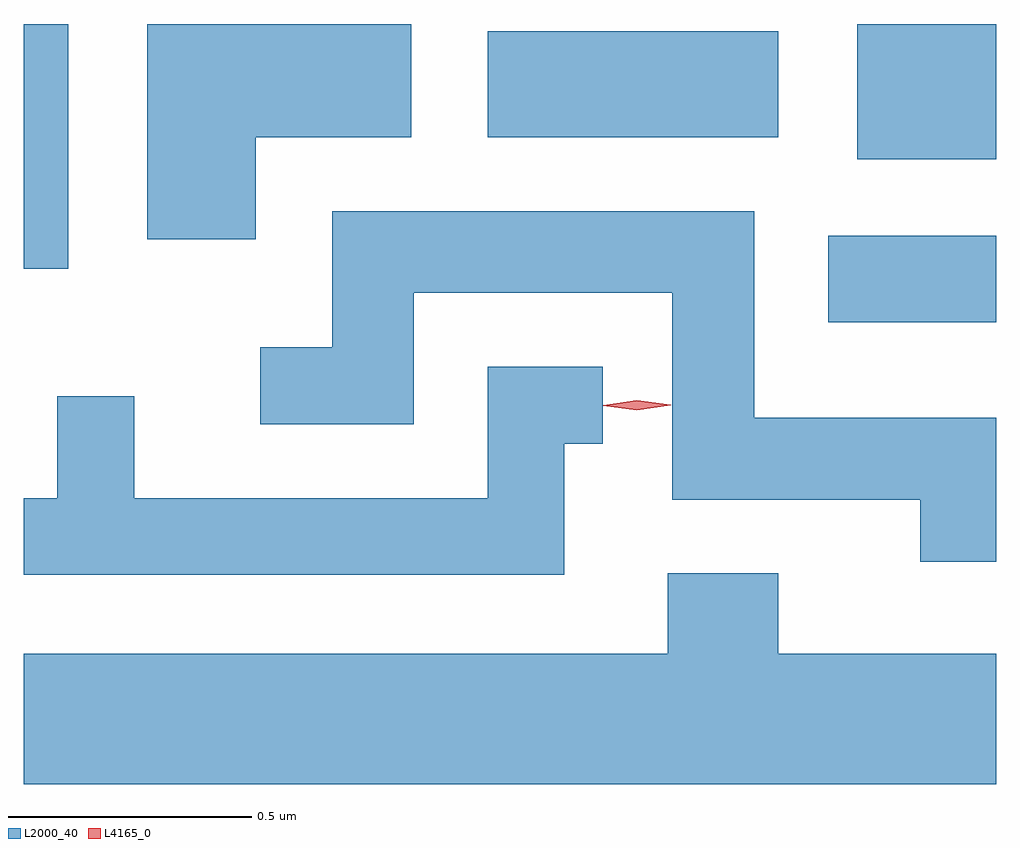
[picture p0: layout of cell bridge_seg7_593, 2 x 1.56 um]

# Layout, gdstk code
import gdstk
lib = gdstk.Library(unit=1e-6, precision=1e-09)
def R(c, l, rs):  # rectangles x0, y0, x1, y1
    for r in rs: c.add(gdstk.rectangle(r[:2], r[2:], *l))
def P(c, l, *ps):  # polygons
    for p in ps: c.add(gdstk.Polygon(p, *l))
L2000_40 = (2000, 40)
L4165_0 = (4165, 0)

bridge_seg7_593 = lib.new_cell('bridge_seg7_593')
R(bridge_seg7_593, L2000_40, [(967.481,1759.666,967.827,1759.844), (965.827,1759.776,965.919,1760.279), (967.541,1760.001,967.827,1760.279), (966.781,1760.046,967.379,1760.264)])
P(bridge_seg7_593, L2000_40, [(966.304,1760.046),(966.624,1760.046),(966.624,1760.279),(966.081,1760.279),(966.081,1759.836),(966.304,1759.836)],
  [(967.827,1759.469),(967.329,1759.469),(967.329,1759.894),(966.461,1759.894),(966.461,1759.614),(966.313,1759.614),(966.313,1759.456),(966.629,1759.456),(966.629,1759.726),(967.161,1759.726),(967.161,1759.301),(967.671,1759.301),(967.671,1759.173),(967.827,1759.173)],
  [(966.939,1759.416),(967.018,1759.416),(967.018,1759.574),(966.781,1759.574),(966.781,1759.304),(966.054,1759.304),(966.054,1759.513),(965.896,1759.513),(965.896,1759.304),(965.827,1759.304),(965.827,1759.146),(966.939,1759.146)],
  [(967.827,1758.984),(967.379,1758.984),(967.379,1759.149),(967.151,1759.149),(967.151,1758.984),(965.827,1758.984),(965.827,1758.716),(967.827,1758.716)])
P(bridge_seg7_593, L4165_0, [(967.088,1759.485),(967.019,1759.494),(967.019,1759.495),(967.019,1759.495),(967.088,1759.505),(967.158,1759.496),(967.158,1759.496),(967.158,1759.495)])

lib.write_gds('bridge_seg7_593.gds')
